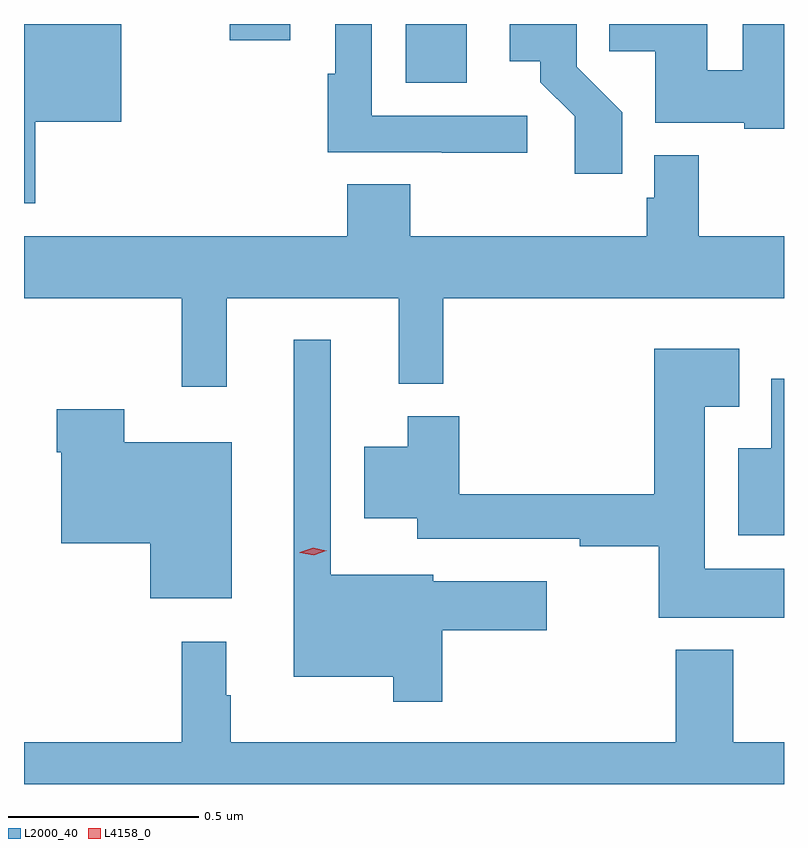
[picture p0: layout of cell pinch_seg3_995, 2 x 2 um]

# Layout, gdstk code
import gdstk
lib = gdstk.Library(unit=1e-6, precision=1e-09)
def R(c, l, rs):  # rectangles x0, y0, x1, y1
    for r in rs: c.add(gdstk.rectangle(r[:2], r[2:], *l))
def P(c, l, *ps):  # polygons
    for p in ps: c.add(gdstk.Polygon(p, *l))
L2000_40 = (2000, 40)
L4158_0 = (4158, 0)

pinch_seg3_995 = lib.new_cell('pinch_seg3_995')
R(pinch_seg3_995, L2000_40, [(413.558,729.456,413.719,729.61), (413.096,729.567,413.254,729.61)])
P(pinch_seg3_995, L2000_40, [(414.554,729.61),(414.446,729.61),(414.446,729.488),(414.352,729.488),(414.352,729.61),(414.094,729.61),(414.094,729.538),(414.215,729.538),(414.215,729.35),(414.45,729.35),(414.45,729.335),(414.554,729.335)],
  [(413.878,729.369),(413.469,729.369),(413.469,729.61),(413.373,729.61),(413.373,729.479),(413.353,729.479),(413.353,729.273),(413.653,729.273),(413.653,729.271),(413.878,729.271)],
  [(412.583,729.353),(412.81,729.353),(412.81,729.61),(412.554,729.61),(412.554,729.138),(412.583,729.138)],
  [(414.128,729.378),(414.009,729.497),(414.009,729.61),(413.832,729.61),(413.832,729.512),(413.912,729.512),(413.912,729.457),(414.003,729.367),(414.003,729.216),(414.128,729.216)],
  [(413.087,728.888),(413.54,728.888),(413.54,728.663),(413.657,728.663),(413.657,728.888),(414.554,728.888),(414.554,729.052),(414.329,729.052),(414.329,729.265),(414.213,729.265),(414.213,729.153),(414.193,729.153),(414.193,729.052),(413.57,729.052),(413.57,729.188),(413.405,729.188),(413.405,729.052),(412.554,729.052),(412.554,728.888),(412.969,728.888),(412.969,728.655),(413.087,728.655)],
  [(413.654,728.014),(413.929,728.014),(413.929,728.143),(413.631,728.143),(413.631,728.161),(413.361,728.161),(413.361,728.779),(413.264,728.779),(413.264,727.892),(413.526,727.892),(413.526,727.827),(413.654,727.827)],
  [(414.554,728.176),(414.346,728.176),(414.346,728.603),(414.436,728.603),(414.436,728.755),(414.212,728.755),(414.212,728.372),(413.699,728.372),(413.699,728.578),(413.564,728.578),(413.564,728.497),(413.45,728.497),(413.45,728.309),(413.589,728.309),(413.589,728.256),(414.016,728.256),(414.016,728.236),(414.224,728.236),(414.224,728.048),(414.554,728.048)],
  [(414.554,728.677),(414.521,728.677),(414.521,728.494),(414.434,728.494),(414.434,728.264),(414.554,728.264)],
  [(413.101,728.509),(412.818,728.509),(412.818,728.596),(412.64,728.596),(412.64,728.483),(412.652,728.483),(412.652,728.243),(412.886,728.243),(412.886,728.099),(413.101,728.099)],
  [(414.554,727.72),(414.421,727.72),(414.421,727.963),(414.269,727.963),(414.269,727.72),(413.098,727.72),(413.098,727.844),(413.086,727.844),(413.086,727.984),(412.969,727.984),(412.969,727.72),(412.554,727.72),(412.554,727.61),(414.554,727.61)])
P(pinch_seg3_995, L4158_0, [(413.316,728.212),(413.28,728.219),(413.28,728.22),(413.28,728.22),(413.315,728.232),(413.35,728.224),(413.351,728.224),(413.35,728.224)])

lib.write_gds('pinch_seg3_995.gds')
